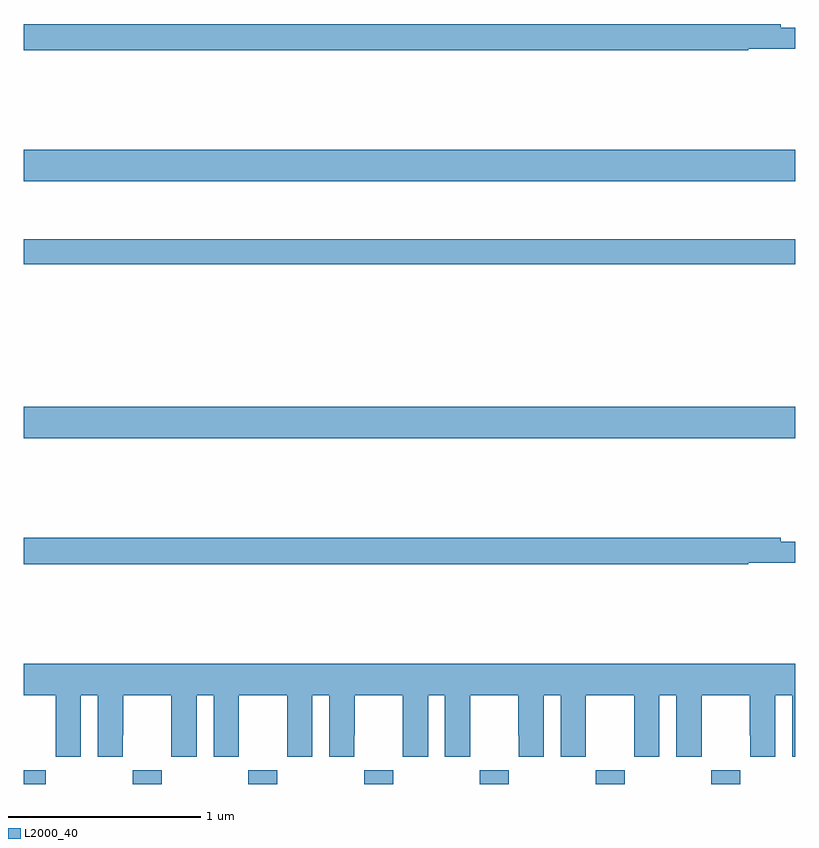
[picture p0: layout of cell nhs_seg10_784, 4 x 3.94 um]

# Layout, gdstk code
import gdstk
lib = gdstk.Library(unit=1e-6, precision=1e-09)
def R(c, l, rs):  # rectangles x0, y0, x1, y1
    for r in rs: c.add(gdstk.rectangle(r[:2], r[2:], *l))
def A(c, l, x, y, w, h, nx, ny, dx, dy):  # array of equal rectangles
    R(c, l, [(x+i*dx, y+j*dy, x+i*dx+w, y+j*dy+h) for i in range(nx) for j in range(ny)])
def P(c, l, *ps):  # polygons
    for p in ps: c.add(gdstk.Polygon(p, *l))
L2000_40 = (2000, 40)

nhs_seg10_784 = lib.new_cell('nhs_seg10_784')
A(nhs_seg10_784, L2000_40, 149.565, 1322.5, 0.15, 0.072, 6, 1, 0.6, 0)
R(nhs_seg10_784, L2000_40, [(149,1322.5,149.115,1322.572), (149,1324.292,153,1324.456), (149,1325.194,153,1325.323), (149,1325.624,153,1325.788)])
P(nhs_seg10_784, L2000_40, [(152.755,1326.312),(153,1326.312),(153,1326.421),(152.924,1326.421),(152.924,1326.44),(149,1326.44),(149,1326.304),(152.755,1326.304)],
  [(152.755,1323.648),(153,1323.648),(153,1323.757),(152.924,1323.757),(152.924,1323.776),(149,1323.776),(149,1323.64),(152.755,1323.64)],
  [(149.296,1322.96),(149.384,1322.96),(149.384,1322.64),(149.514,1322.64),(149.514,1322.752),(149.515,1322.752),(149.515,1322.96),(149.765,1322.96),(149.765,1322.752),(149.766,1322.752),(149.766,1322.64),(149.896,1322.64),(149.896,1322.96),(149.984,1322.96),(149.984,1322.64),(150.114,1322.64),(150.114,1322.752),(150.115,1322.752),(150.115,1322.96),(150.365,1322.96),(150.365,1322.752),(150.366,1322.752),(150.366,1322.64),(150.496,1322.64),(150.496,1322.96),(150.584,1322.96),(150.584,1322.64),(150.714,1322.64),(150.714,1322.752),(150.715,1322.752),(150.715,1322.96),(150.965,1322.96),(150.965,1322.752),(150.966,1322.752),(150.966,1322.64),(151.096,1322.64),(151.096,1322.96),(151.184,1322.96),(151.184,1322.64),(151.314,1322.64),(151.314,1322.752),(151.315,1322.752),(151.315,1322.96),(151.565,1322.96),(151.565,1322.752),(151.566,1322.752),(151.566,1322.64),(151.696,1322.64),(151.696,1322.96),(151.784,1322.96),(151.784,1322.64),(151.914,1322.64),(151.914,1322.752),(151.915,1322.752),(151.915,1322.96),(152.165,1322.96),(152.165,1322.752),(152.166,1322.752),(152.166,1322.64),(152.296,1322.64),(152.296,1322.96),(152.384,1322.96),(152.384,1322.64),(152.514,1322.64),(152.514,1322.752),(152.515,1322.752),(152.515,1322.96),(152.765,1322.96),(152.765,1322.752),(152.766,1322.752),(152.766,1322.64),(152.896,1322.64),(152.896,1322.96),(152.984,1322.96),(152.984,1322.64),(153,1322.64),(153,1323.124),(149,1323.124),(149,1322.96),(149.165,1322.96),(149.165,1322.752),(149.166,1322.752),(149.166,1322.64),(149.296,1322.64)])

lib.write_gds('nhs_seg10_784.gds')
